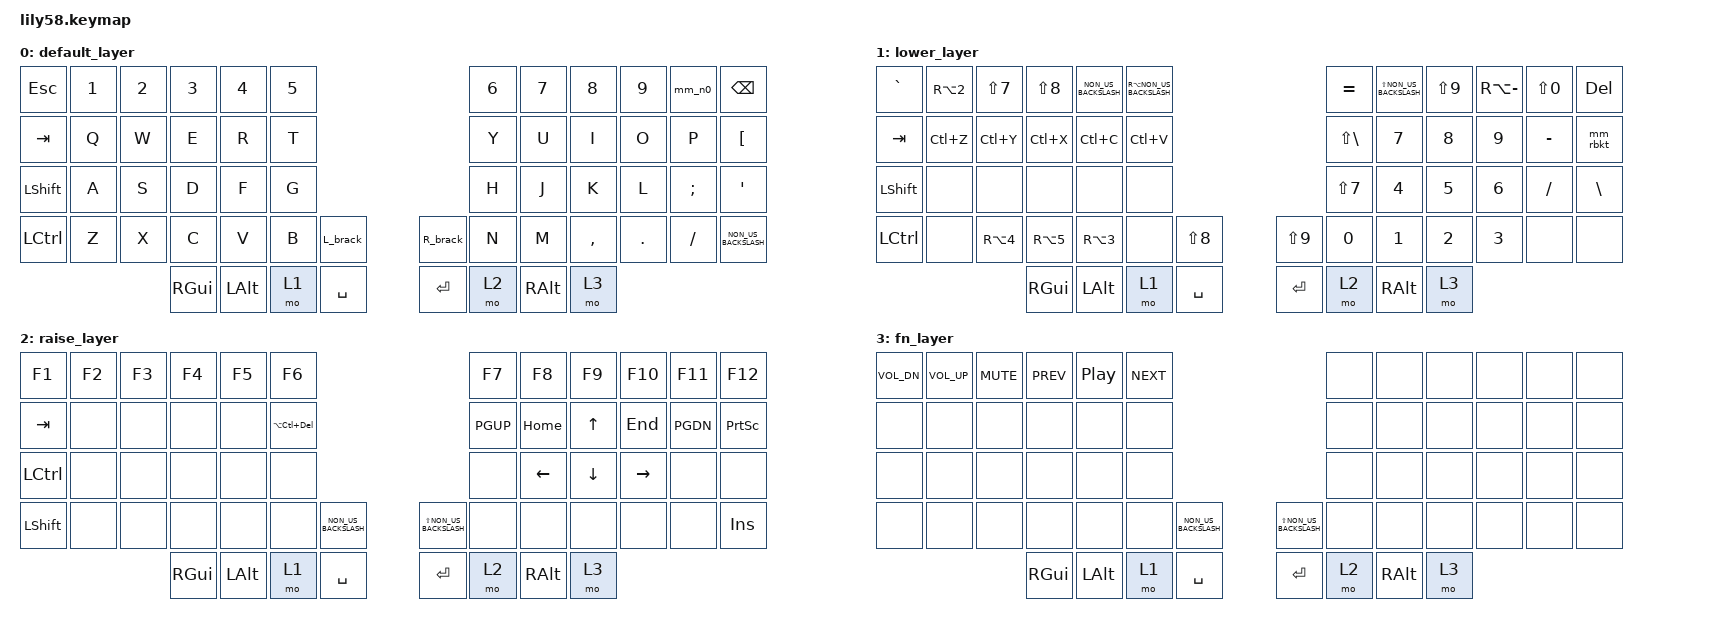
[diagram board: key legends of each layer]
/*
 * Copyright (c) 2020 The ZMK Contributors
 *
 * SPDX-License-Identifier: MIT
 */

#include "keymap.dtsi"
#include <behaviors.dtsi>
#include <dt-bindings/zmk/keys.h>
#include <dt-bindings/zmk/bt.h>
#include <dt-bindings/zmk/ext_power.h>

/ {
    keymap {
        compatible = "zmk,keymap";

   default_layer {
// ------------------------------------------------------------------------------------------------------------
// |  ESC  |  1  |  2  |  3   |  4   |  5   |                   |  6   |  7    |  8    |  9   |   0   | BSPACE|
// |  TAB  |  Q  |  W  |  E   |  R   |  T   |                   |  Y   |  U    |  I    |  O   |   P   |   Å   |
// | SHIFT |  A  |  S  |  D   |  F   |  G   |                   |  H   |  J    |  K    |  L   |   Ö   |   Ä   |
// | CTRL  |  Z  |  X  |  C   |  V   |  B   |   "{"  |  |  "}"  |   N  |  M    |  ,    |  .   |   -   |   <   | 
//                     | WIN  |  ALT | LOWER|  SPACE |  | ENTER | RAISE| ALTGR | FN    |
  bindings = <
        &kp ESC   &kp N1  &kp N2 &kp N3 &kp N4 &kp N5                        &kp N6 &kp N7 &kp N8    &kp N9       &mm_n0             &kp BACKSPACE
        &kp TAB   &kp Q   &kp W  &kp E  &kp R  &kp T                         &kp Y  &kp U  &kp I     &kp O        &kp P              &kp LEFT_BRACKET
        &kp LSHFT &kp A   &kp S  &kp D  &kp F  &kp G                         &kp H  &kp J  &kp K     &kp L        &kp SEMICOLON      &kp APOSTROPHE
        &kp LCTRL &kp Z   &kp X  &kp C  &kp V  &kp B  &L_brack     &R_brack  &kp N  &kp M  &kp COMMA &kp DOT      &kp SLASH          &kp NON_US_BACKSLASH                
                                     &kp RGUI  &kp LALT &mo 1 &kp SPACE           &kp RET &mo 2 &kp RALT &mo 3
    >;
};

         lower_layer {
// ------------------------------------------------------------------------------------------------------------
// |   §   |  @  |  /  |   (  |  <   |   |  |                   |   ´  |   >   |   )   |   \  |   =   |  DEL  | 
// |  TAB  |CTRLZ|CTRLY|CTRLX | CTRLC| CTRLV|                   |   *  |   7   |   8   |   9  |   +   |   ^   |  
// | SHIFT |     |     |      |      |      |                   |   /  |   4   |   5   |   6  |   -   |   '   |
// | CTRL  |     |  $  |  €   |  £   |      |    (   |  |   )   |   0  |   1   |   2   |   3  |       |       |
//                     | WIN  |  ALT | LOWER|  SPACE |  | ENTER | RAISE| ALTGR | FN    |
      bindings = <
        &kp GRAVE &kp RA(N2) &kp LS(N7) &kp LS(N8)     &kp NON_US_BACKSLASH    &kp RA(NON_US_BACKSLASH)                    &kp EQUAL       &kp LS(NON_US_BACKSLASH) &kp LS(N9)       &kp RA(MINUS)     &kp LS(N0)        &kp DEL  
        &kp TAB   &kp LC(Z)  &kp LC(Y)  &kp LC(X)      &kp LC(C)               &kp LC(V)                                   &kp LS(BSLH)    &kp N7                   &kp N8           &kp N9            &kp MINUS         &mm_rbkt 
        &kp LSHFT &none      &none      &none          &none                   &none                                       &kp LS(N7)      &kp N4                   &kp N5           &kp N6            &kp SLASH         &kp BSLH
        &kp LCTRL &none      &kp RA(N4) &kp RA(N5)     &kp RA(N3)              &none            &kp LS(N8)  &kp LS(N9)     &kp N0          &kp N1                   &kp N2           &kp N3            &none             &none
                                                                 &kp RGUI  &kp LALT &mo 1 &kp SPACE           &kp RET &mo 2 &kp RALT &mo 3
    >;
};

       raise_layer {
// ------------------------------------------------------------------------------------------------------------
// |  F1   |  F2 |  F3 |  F4  |  F5  |  F6  |                   |  F7  |  F8   |  F9   |  F10 |  F11  |  F12  |
// |  TAB  |     |     |      |      |CALDEL|                   | PGUP | HOME  |  ↑    | END  |  PGDN | PSCRN |
// | CTRL  |     |     |      |      |      |                   |      |  ←    |  ↓    |  →   |       |       |
// | SHIFT |     |     |      |      |      |    <   |  |   >   |      |       |       |      |       |  INS  |
//                     | WIN  |  ALT | LOWER|  SPACE |  | ENTER | RAISE| ALTGR | FN    |
    bindings = <
        &kp F1    &kp F2        &kp F3     &kp F4      &kp F5     &kp F6                                                   &kp F7          &kp F8        &kp F9               &kp F10                  &kp F11       &kp F12
        &kp TAB   &none         &none      &none       &none      &kp LA(LC(DEL))                                          &kp PGUP        &kp HOME      &kp UP               &kp END                  &kp PGDN      &kp PRINTSCREEN 
        &kp LCTRL &none         &none      &none       &none      &none                                                    &none           &kp LEFT      &kp DOWN             &kp RIGHT                &none         &none  
        &kp LSHFT &none         &none      &none       &none      &none     &kp NON_US_BACKSLASH &kp LS(NON_US_BACKSLASH)  &none           &none         &none                &none                    &none         &kp INSERT
                                                          &kp RGUI  &kp LALT &mo 1 &kp SPACE           &kp RET &mo 2 &kp RALT &mo 3
    >;
};

    fn_layer {
// -------------------------------------------------------------------------------------------------------------
// | VOL- | VOL+ | MUTE | PREV | PLAY | NEXT |                   |      |       |       |      |       |       |
// |      |      |      |      |      |      |                   |      |       |       |      |       |       |
// |      |      |      |      |      |      |                   |      |       |       |      |       |       |
// |      |      |      |      |      |      |    <   |  |   >   |      |       |       |      |       |       |
//                      | WIN  |  ALT | LOWER|  SPACE |  | ENTER | RAISE| ALTGR | FN    |
       bindings = <
        &kp C_VOL_DN &kp C_VOL_UP &kp C_MUTE &kp C_PREV &kp C_PLAY_PAUSE &kp C_NEXT                                                             &none &none &none &none &none &none
        &none        &none        &none      &none      &none            &none                                                                  &none &none &none &none &none &none
        &none        &none        &none      &none      &none            &none                                                                  &none &none &none &none &none &none
        &none        &none        &none      &none      &none            &none            &kp NON_US_BACKSLASH     &kp LS(NON_US_BACKSLASH)     &none &none &none &none &none &none
                                                                          &kp RGUI  &kp LALT &mo 1 &kp SPACE           &kp RET &mo 2 &kp RALT &mo 3
    >;
};

    };
};
